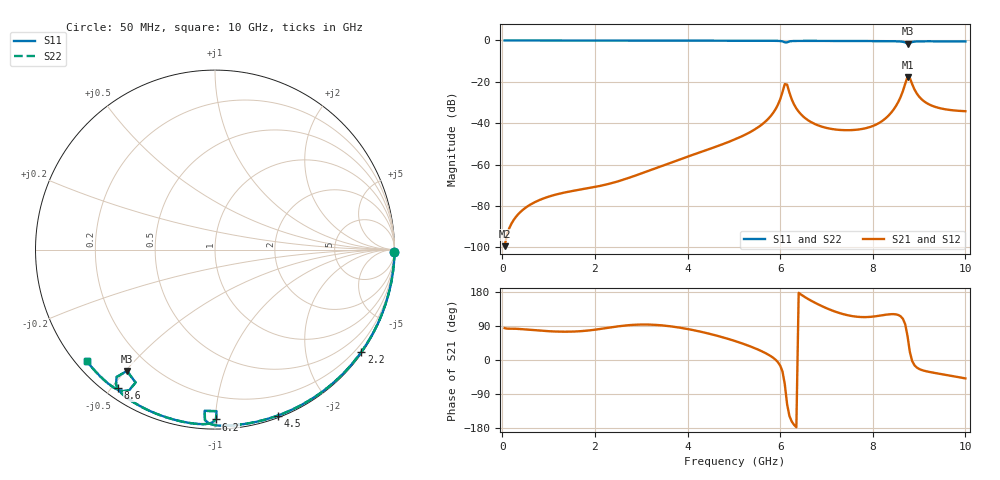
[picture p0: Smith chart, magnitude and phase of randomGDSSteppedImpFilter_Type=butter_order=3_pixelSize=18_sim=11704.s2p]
! freq	dB(S11)	phase(S11)	dB(S12)	phase(S12)
!  dB(S21)	phase(S21)	dB(S22)	phase(S22)
!S-par simulation data
#  GHz  S  DB  R 50
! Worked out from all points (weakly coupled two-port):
!   200 points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, 50 MHz to 10 GHz, reference 50 ohm
!   highest |S21| = -17.67 dB at 8.75 GHz (marker M1); lowest = -99.4 dB at 50 MHz (marker M2)
!   lowest |S11| = -1.6 dB at 8.75 GHz (marker M3), VSWR 11.15, Z = 5.64 - j25.2 ohm
!   |S11| at or under -10 dB: nowhere
!   |S22| runs from -1.6 to 0.0 dB; largest |S21 - S12| = 0
!   S11 on the Smith chart (normalised r, x): 50 MHz: open; 2.2 GHz: 0.03, -3.17; 4.5 GHz: 0.02, -1.45; 6.2 GHz: 0.06, -1.00; 8.6 GHz: 0.04, -0.52; 10 GHz: 0.03, -0.37
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0.05  -0.00 -0.8  -99.38 84.2  -99.38 84.2  -0.00 -0.8
0.55  -0.01 -8.9  -80.08 80.1  -80.08 80.1  -0.01 -8.9
1.75  -0.04 -28.0  -71.79 76.6  -71.79 76.6  -0.04 -28.0
2.2  -0.04 -35.0  -69.83 83.4  -69.83 83.4  -0.04 -35.0
3.4  -0.07 -53.2  -60.96 91.9  -60.96 91.9  -0.07 -53.2
4.5  -0.10 -69.3  -52.23 68.4  -52.23 68.4  -0.10 -69.3
5.05  -0.12 -77.1  -47.53 49.1  -47.53 49.1  -0.12 -77.1
5.75  -0.16 -87.2  -37.69 13.8  -37.69 13.8  -0.16 -87.2
5.95  -0.21 -90.7  -31.13 -5.5  -31.13 -5.5  -0.21 -90.7
6.1  -0.92 -93.7  -21.08 -63.7  -21.08 -63.7  -0.91 -93.7
6.15  -0.92 -89.4  -21.35 -116.6  -21.35 -116.6  -0.91 -89.5
6.2  -0.48 -89.7  -25.20 -147.6  -25.20 -147.6  -0.48 -89.7
6.4  -0.22 -93.9  -34.40 177.3  -34.40 177.3  -0.22 -93.9
6.7  -0.21 -98.4  -39.82 154.4  -39.82 154.4  -0.21 -98.4
7.65  -0.26 -111.0  -43.13 114.2  -43.13 114.2  -0.26 -111.0
8.05  -0.30 -116.3  -40.87 115.2  -40.87 115.2  -0.30 -116.3
8.35  -0.34 -120.5  -36.06 120.5  -36.06 120.5  -0.34 -120.5
8.6  -0.50 -125.0  -27.37 115.5  -27.37 115.5  -0.50 -125.0
8.75  -1.56 -126.0  -17.67 63.3  -17.67 63.3  -1.57 -126.0
8.85  -0.75 -121.4  -21.06 -2.5  -21.06 -2.5  -0.75 -121.3
9.15  -0.40 -127.9  -30.06 -29.6  -30.06 -29.6  -0.40 -127.9
10  -0.48 -139.1  -34.18 -48.6  -34.18 -48.6  -0.48 -139.1
